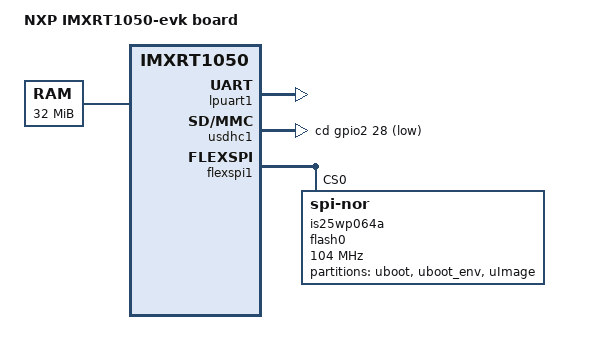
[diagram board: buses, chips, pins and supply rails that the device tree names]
// SPDX-License-Identifier: (GPL-2.0+ OR MIT)
/*
 * Copyright (C) 2019
 * Author(s): Giulio Benetti <giulio.benetti@benettiengineering.com>
 */

/dts-v1/;
#include "imxrt1050.dtsi"
#include "imxrt1050-pinfunc.h"

/ {
	model = "NXP IMXRT1050-evk board";
	compatible = "fsl,imxrt1050-evk", "fsl,imxrt1050";

	chosen {
		stdout-path = &lpuart1;
	};

	aliases {
		gpio0 = &gpio1;
		gpio1 = &gpio2;
		gpio2 = &gpio3;
		gpio3 = &gpio4;
		gpio4 = &gpio5;
		mmc0 = &usdhc1;
		serial0 = &lpuart1;
	};

	memory@80000000 {
		device_type = "memory";
		reg = <0x80000000 0x2000000>;
	};
};

&lpuart1 {
	pinctrl-names = "default";
	pinctrl-0 = <&pinctrl_lpuart1>;
	status = "okay";
};

&iomuxc {
	pinctrl-names = "default";
	pinctrl_lpuart1: lpuart1grp {
		fsl,pins = <
			MXRT1050_IOMUXC_GPIO_AD_B0_12_LPUART1_TXD	0xf1
			MXRT1050_IOMUXC_GPIO_AD_B0_13_LPUART1_RXD	0xf1
		>;
	};

	pinctrl_usdhc0: usdhc0grp {
		fsl,pins = <
			MXRT1050_IOMUXC_GPIO_B1_12_USDHC1_CD_B		0x1B000
			MXRT1050_IOMUXC_GPIO_B1_14_USDHC1_VSELECT	0xB069
			MXRT1050_IOMUXC_GPIO_SD_B0_00_USDHC1_CMD	0x17061
			MXRT1050_IOMUXC_GPIO_SD_B0_01_USDHC1_CLK	0x17061
			MXRT1050_IOMUXC_GPIO_SD_B0_05_USDHC1_DATA3	0x17061
			MXRT1050_IOMUXC_GPIO_SD_B0_04_USDHC1_DATA2	0x17061
			MXRT1050_IOMUXC_GPIO_SD_B0_03_USDHC1_DATA1	0x17061
			MXRT1050_IOMUXC_GPIO_SD_B0_02_USDHC1_DATA0	0x17061
		>;
	};

	pinctrl_flexspi: flexspigrp {
		fsl,pins = <
			MXRT1050_IOMUXC_GPIO_SD_B1_05_FLEXSPI_A_DQS	(IMX_PAD_SION | 0x130f1)
			MXRT1050_IOMUXC_GPIO_SD_B1_05_FLEXSPI_A_DQS	(IMX_PAD_SION | 0x130f1)
			MXRT1050_IOMUXC_GPIO_SD_B1_06_FLEXSPI_A_SS0_B	(IMX_PAD_SION | 0x10f1)
			MXRT1050_IOMUXC_GPIO_SD_B1_07_FLEXSPI_A_SCLK	(IMX_PAD_SION | 0x10f1)
			MXRT1050_IOMUXC_GPIO_SD_B1_08_FLEXSPI_A_DATA0	(IMX_PAD_SION | 0x10f1)
			MXRT1050_IOMUXC_GPIO_SD_B1_09_FLEXSPI_A_DATA1	(IMX_PAD_SION | 0x10f1)
			MXRT1050_IOMUXC_GPIO_SD_B1_10_FLEXSPI_A_DATA2	(IMX_PAD_SION | 0x10f1)
			MXRT1050_IOMUXC_GPIO_SD_B1_11_FLEXSPI_A_DATA3	(IMX_PAD_SION | 0x10f1)
		>;
	};
};

&usdhc1 {
	pinctrl-names = "default", "state_100mhz", "state_200mhz", "sleep";
	pinctrl-0 = <&pinctrl_usdhc0>;
	pinctrl-1 = <&pinctrl_usdhc0>;
	pinctrl-2 = <&pinctrl_usdhc0>;
	pinctrl-3 = <&pinctrl_usdhc0>;
	cd-gpios = <&gpio2 28 GPIO_ACTIVE_LOW>;
	status = "okay";
};

&flexspi1 {
	pinctrl-names = "default";
	pinctrl-0 = <&pinctrl_flexspi>;
	nxp-flexspi,rx-clk-loopback-from-dqs;
	assigned-clocks = <&clks IMXRT1050_CLK_PLL3_PFD0_720M>;
	assigned-clock-rates = <480000000>;
	status = "okay";

	is25wp064a: flash0@0 {
		reg = <0>;
		#address-cells = <1>;
		#size-cells = <1>;
		compatible = "jedec,spi-nor";
		spi-max-frequency = <104000000>;
		spi-tx-bus-width = <4>;
		spi-rx-bus-width = <4>;
		partition@0 {
			label = "uboot";
			reg = <0x0 0x60000>; };

		partition@1 {
			label = "uboot_env";
			reg = <0x60000 0x20000>; };

		partition@2 {
			label = "uImage";
			reg = <0x80000 0x780000>; };
	};
};
